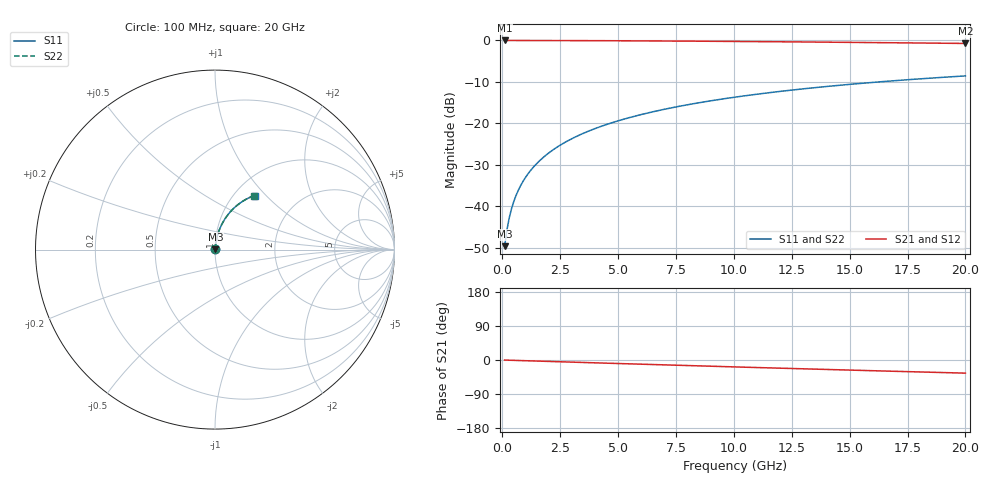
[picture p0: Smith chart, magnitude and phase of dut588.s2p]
! Touchstone file exported from HFSS 2026.1.0
!  File:  C:/ffzhzh/LocalFiles/Ansys_Project_Files/temp_train_TMRDL_588_1783008372_53980.aedt
!  Generated:  12:07:32 AM Jul  3, 2026
!  Design:  TMRDL
!  Project:  temp_train_TMRDL_588_1783008372_53980
! Variables:
!  h_bsmrdl = 2um
!  h_ox = 20um
!  h_rdl = 5um
!  h_sub = 80um
!  h_tmrdl = 4.61um
!  h_tsv = 80um
!  h_via = 3um
!  l_bsmrdl = 300um
!  l_sub = 859.56um
!  l_tmrdl = 459.56um
!  m_sub = 200um
!  pitch = 48.1um
!  r_tsv = 6um
!  s_tmrdl = 10um
!  w_bsmrdl = 18um
!  w_sub = 500um
!  w_tmrdl = 15.51um
!  x_tsv_center1 = 467.315um
!  x_tsv_center2 = 785.315um
!  x_tsv_center3 = 1260.385um
!  x_tsv_center4 = 1578.385um
!  x_tsv_center5 = 2053.455um
!  x_tsv_center6 = 2371.455um
# GHz S MA R 50.000000
! Terminal data exported
! Port[1] = TM_RDL1_1_T1
! Port[2] = TM_RDL1_1_T2
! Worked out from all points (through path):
!   200 points, 100 MHz to 20 GHz, reference 50 ohm
!   highest |S21| = -0.02 dB at 100 MHz (marker M1); lowest = -0.7 dB at 20 GHz (marker M2)
!   group delay of S21, straight-line fit = 4.82 ps
!   lowest |S11| = -49.6 dB at 100 MHz (marker M3), VSWR 1.01, Z = 50.2 + j0.231 ohm
!   |S11| at or under -10 dB: start of sweep to 16.28 GHz
!   |S22| runs from -49.6 to -8.6 dB; largest |S21 - S12| = 2.6e-15
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0.1  0.003316 43.8  0.9976 -0.2  0.9976 -0.2  0.003316 43.8
! Gamma 0 0 0 0
! Port Impedance 50 0 50 0
0.2  0.005196 61.5  0.9975 -0.4  0.9975 -0.4  0.005196 61.5
0.3  0.007275 69.0  0.9974 -0.6  0.9974 -0.6  0.007275 69.0
0.4  0.009398 73.1  0.9974 -0.8  0.9974 -0.8  0.009398 73.1
0.5  0.01153 75.6  0.9973 -1.0  0.9973 -1.0  0.01153 75.6
0.6  0.01367 77.3  0.9972 -1.1  0.9972 -1.1  0.01367 77.3
0.8  0.01797 79.4  0.9971 -1.5  0.9971 -1.5  0.01797 79.4
1.1  0.02444 81.0  0.9968 -2.1  0.9968 -2.1  0.02444 81.0
1.5  0.03308 81.8  0.9964 -2.8  0.9964 -2.8  0.03308 81.8
1.8  0.03956 82.0  0.9961 -3.4  0.9961 -3.4  0.03956 82.0
2.1  0.04603 81.9  0.9957 -3.9  0.9957 -3.9  0.04603 81.9
2.7  0.05891 81.4  0.9947 -5.1  0.9947 -5.1  0.05891 81.4
3.5  0.07594 80.4  0.9931 -6.5  0.9931 -6.5  0.07594 80.4
4.2  0.09067 79.3  0.9914 -7.8  0.9914 -7.8  0.09067 79.3
5  0.1073 78.1  0.9893 -9.3  0.9893 -9.3  0.1073 78.1
5.9  0.1257 76.6  0.9866 -10.9  0.9866 -10.9  0.1257 76.6
6.8  0.1439 75.1  0.9837 -12.5  0.9837 -12.5  0.1439 75.1
8.3  0.1735 72.6  0.9782 -15.2  0.9782 -15.2  0.1735 72.6
10.1  0.2079 69.6  0.9708 -18.4  0.9708 -18.4  0.2079 69.6
13.4  0.2678 64.2  0.9551 -24.0  0.9551 -24.0  0.2678 64.2
16.7  0.323 59.0  0.9373 -29.4  0.9373 -29.4  0.323 59.0
20  0.3732 53.9  0.9182 -34.7  0.9182 -34.7  0.3732 53.9
